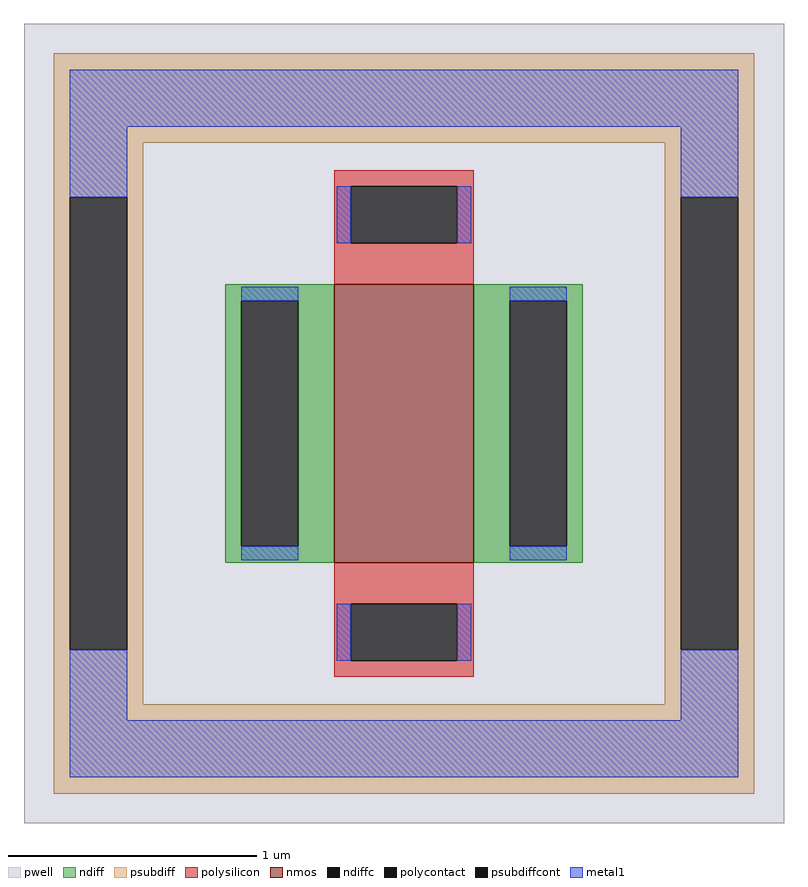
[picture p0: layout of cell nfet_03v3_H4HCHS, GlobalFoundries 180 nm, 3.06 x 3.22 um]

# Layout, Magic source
magic
tech gf180mcuD
magscale 1 10
<< pwell >>
rect -306 -322 306 322
<< nmos >>
rect -56 -112 56 112
<< ndiff >>
rect -144 99 -56 112
rect -144 -99 -131 99
rect -85 -99 -56 99
rect -144 -112 -56 -99
rect 56 99 144 112
rect 56 -99 85 99
rect 131 -99 144 99
rect 56 -112 144 -99
<< ndiffc >>
rect -131 -99 -85 99
rect 85 -99 131 99
<< psubdiff >>
rect -282 226 282 298
rect -282 182 -210 226
rect -282 -182 -269 182
rect -223 -182 -210 182
rect 210 182 282 226
rect -282 -226 -210 -182
rect 210 -182 223 182
rect 269 -182 282 182
rect 210 -226 282 -182
rect -282 -298 282 -226
<< psubdiffcont >>
rect -269 -182 -223 182
rect 223 -182 269 182
<< polysilicon >>
rect -56 191 56 204
rect -56 145 -43 191
rect 43 145 56 191
rect -56 112 56 145
rect -56 -145 56 -112
rect -56 -191 -43 -145
rect 43 -191 56 -145
rect -56 -204 56 -191
<< polycontact >>
rect -43 145 43 191
rect -43 -191 43 -145
<< metal1 >>
rect -269 239 269 285
rect -269 182 -223 239
rect -54 145 -43 191
rect 43 145 54 191
rect 223 182 269 239
rect -131 99 -85 110
rect -131 -110 -85 -99
rect 85 99 131 110
rect 85 -110 131 -99
rect -269 -239 -223 -182
rect -54 -191 -43 -145
rect 43 -191 54 -145
rect 223 -239 269 -182
rect -269 -285 269 -239
<< properties >>
string FIXED_BBOX -246 -262 246 262
string gencell nfet_03v3
string library gf180mcu
string parameters w 1.12 l 0.56 m 1 nf 1 diffcov 100 polycov 100 guard 1 glc 1 grc 1 gtc 0 gbc 0 tbcov 100 rlcov 100 topc 1 botc 1 poverlap 0 doverlap 1 lmin 0.28 wmin 0.22 class mosfet full_metal 1 compatible {nfet_03v3 nfet_05v0 nfet_06v0 nfet_06v0_nvt}
<< end >>
